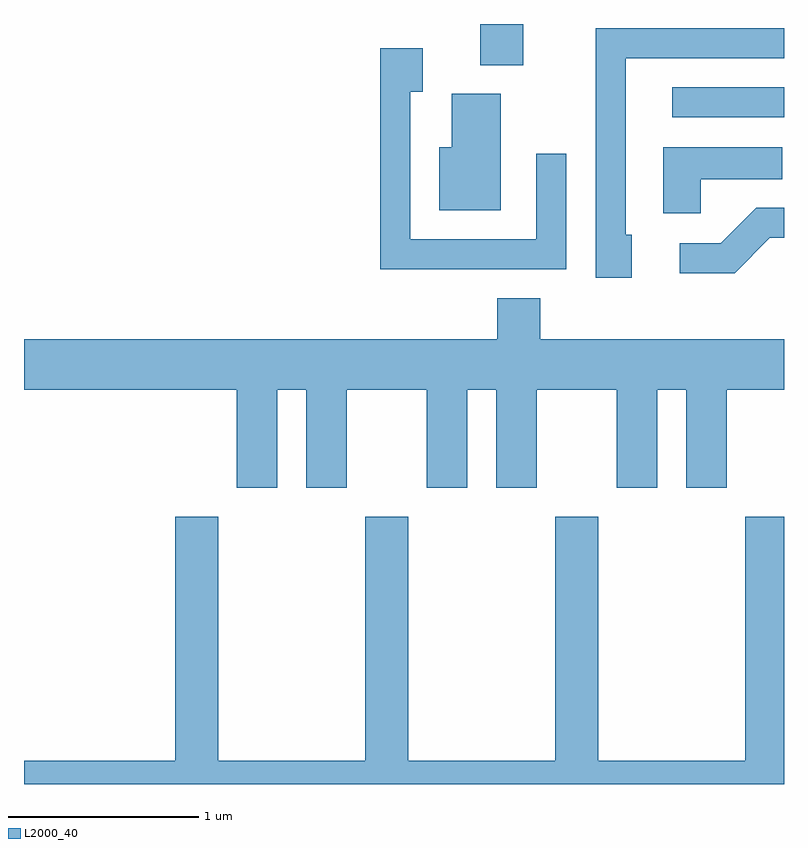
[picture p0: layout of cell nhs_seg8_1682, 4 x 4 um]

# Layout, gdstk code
import gdstk
lib = gdstk.Library(unit=1e-6, precision=1e-09)
def R(c, l, rs):  # rectangles x0, y0, x1, y1
    for r in rs: c.add(gdstk.rectangle(r[:2], r[2:], *l))
def P(c, l, *ps):  # polygons
    for p in ps: c.add(gdstk.Polygon(p, *l))
L2000_40 = (2000, 40)

nhs_seg8_1682 = lib.new_cell('nhs_seg8_1682')
R(nhs_seg8_1682, L2000_40, [(239.023,1837.851,239.611,1838.009), (238.011,1838.126,238.239,1838.342)])
P(nhs_seg8_1682, L2000_40, [(238.809,1837.234),(238.779,1837.234),(238.779,1838.161),(239.611,1838.161),(239.611,1838.319),(238.621,1838.319),(238.621,1837.006),(238.809,1837.006)],
  [(238.464,1837.658),(238.306,1837.658),(238.306,1837.209),(237.644,1837.209),(237.644,1837.986),(237.709,1837.986),(237.709,1838.214),(237.486,1838.214),(237.486,1837.051),(238.464,1837.051)],
  [(238.119,1837.974),(237.861,1837.974),(237.861,1837.694),(237.796,1837.694),(237.796,1837.361),(238.119,1837.361)],
  [(239.174,1837.526),(239.603,1837.526),(239.603,1837.694),(238.976,1837.694),(238.976,1837.346),(239.174,1837.346)],
  [(239.537,1837.216),(239.611,1837.216),(239.611,1837.374),(239.464,1837.374),(239.279,1837.189),(239.063,1837.189),(239.063,1837.031),(239.352,1837.031)],
  [(236.944,1836.416),(237.096,1836.416),(237.096,1835.901),(237.309,1835.901),(237.309,1836.416),(237.731,1836.416),(237.731,1835.901),(237.944,1835.901),(237.944,1836.416),(238.096,1836.416),(238.096,1835.901),(238.309,1835.901),(238.309,1836.416),(238.731,1836.416),(238.731,1835.901),(238.944,1835.901),(238.944,1836.416),(239.096,1836.416),(239.096,1835.901),(239.309,1835.901),(239.309,1836.416),(239.611,1836.416),(239.611,1836.684),(238.329,1836.684),(238.329,1836.899),(238.101,1836.899),(238.101,1836.684),(235.611,1836.684),(235.611,1836.416),(236.731,1836.416),(236.731,1835.901),(236.944,1835.901)],
  [(239.611,1835.749),(239.406,1835.749),(239.406,1834.464),(238.634,1834.464),(238.634,1835.749),(238.406,1835.749),(238.406,1834.464),(237.634,1834.464),(237.634,1835.749),(237.406,1835.749),(237.406,1834.464),(236.634,1834.464),(236.634,1835.749),(236.406,1835.749),(236.406,1834.464),(235.611,1834.464),(235.611,1834.342),(239.611,1834.342)])

lib.write_gds('nhs_seg8_1682.gds')
